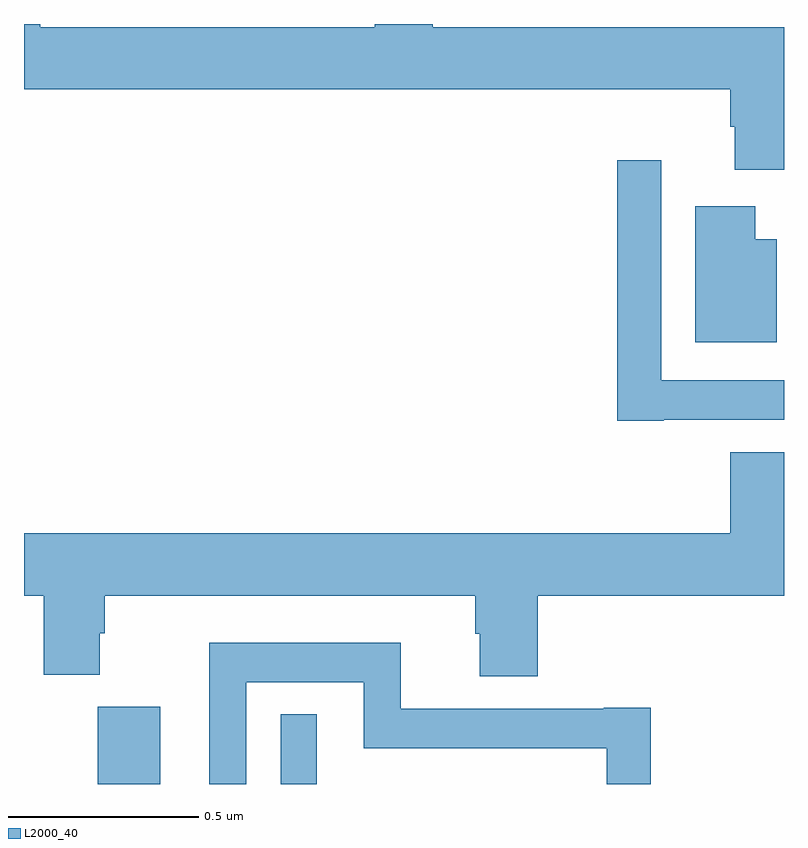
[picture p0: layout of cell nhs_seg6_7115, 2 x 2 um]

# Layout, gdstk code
import gdstk
lib = gdstk.Library(unit=1e-6, precision=1e-09)
def R(c, l, rs):  # rectangles x0, y0, x1, y1
    for r in rs: c.add(gdstk.rectangle(r[:2], r[2:], *l))
def P(c, l, *ps):  # polygons
    for p in ps: c.add(gdstk.Polygon(p, *l))
L2000_40 = (2000, 40)

nhs_seg6_7115 = lib.new_cell('nhs_seg6_7115')
R(nhs_seg6_7115, L2000_40, [(204.194,953.5,204.358,953.703), (204.675,953.5,204.771,953.683)])
P(nhs_seg6_7115, L2000_40, [(206,955.492),(205.076,955.492),(205.076,955.5),(204.923,955.5),(204.923,955.492),(204.043,955.492),(204.043,955.5),(204,955.5),(204,955.328),(205.859,955.328),(205.859,955.23),(205.871,955.23),(205.871,955.116),(206,955.116)],
  [(205.684,954.458),(206,954.458),(206,954.562),(205.677,954.562),(205.677,955.141),(205.561,955.141),(205.561,954.456),(205.684,954.456)],
  [(205.981,954.934),(205.924,954.934),(205.924,955.021),(205.766,955.021),(205.766,954.662),(205.981,954.662)],
  [(205.352,953.996),(206,953.996),(206,954.373),(205.859,954.373),(205.859,954.16),(204,954.16),(204,953.996),(204.052,953.996),(204.052,953.788),(204.199,953.788),(204.199,953.897),(204.212,953.897),(204.212,953.996),(205.187,953.996),(205.187,953.895),(205.199,953.895),(205.199,953.783),(205.352,953.783)],
  [(204.585,953.768),(204.894,953.768),(204.894,953.594),(205.533,953.594),(205.533,953.5),(205.649,953.5),(205.649,953.701),(205.526,953.701),(205.526,953.698),(204.992,953.698),(204.992,953.872),(204.488,953.872),(204.488,953.5),(204.585,953.5)])

lib.write_gds('nhs_seg6_7115.gds')
